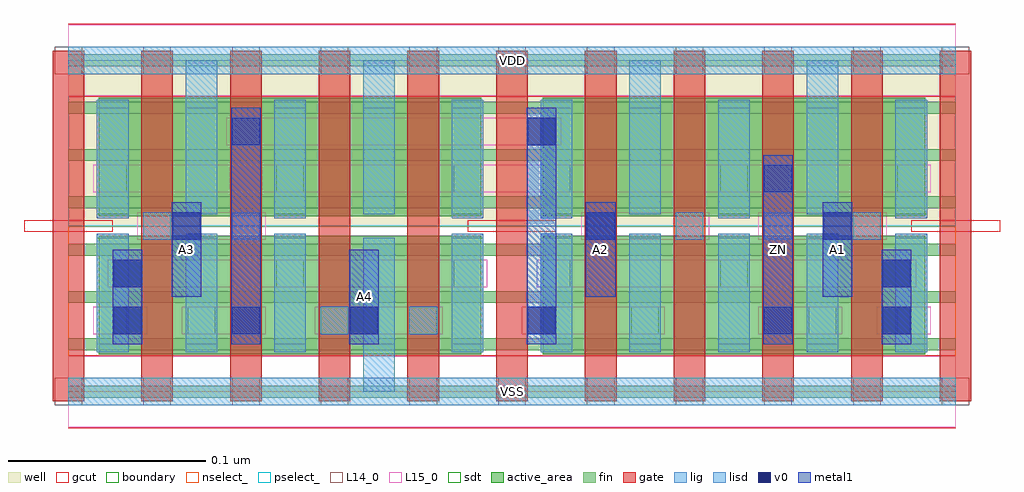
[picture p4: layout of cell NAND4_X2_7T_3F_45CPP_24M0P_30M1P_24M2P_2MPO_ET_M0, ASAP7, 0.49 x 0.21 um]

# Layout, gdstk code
import gdstk
lib = gdstk.Library(unit=1e-6, precision=2.5e-10)
def R(c, l, rs):  # rectangles x0, y0, x1, y1
    for r in rs: c.add(gdstk.rectangle(r[:2], r[2:], *l))
def A(c, l, x, y, w, h, nx, ny, dx, dy):  # array of equal rectangles
    R(c, l, [(x+i*dx, y+j*dy, x+i*dx+w, y+j*dy+h) for i in range(nx) for j in range(ny)])
well = (1, 0)
fin = (2, 0)
gate = (7, 0)
gcut = (10, 0)
active_area = (11, 0)
nselect_ = (12, 0)
pselect_ = (13, 0)
L14_0 = (14, 0)
L15_0 = (15, 0)
lig = (16, 0)
lisd = (17, 0)
v0 = (18, 0)
metal1 = (19, 0)
sdt = (88, 0)
boundary = (100, 0)

nand4_x2_7t_3f_45cpp_24m = lib.new_cell('NAND4_X2_7T_3F_45CPP_24M0P_30M1P_24M2P_2MPO_ET_M0')
R(nand4_x2_7t_3f_45cpp_24m, well, [(0,0.084,0.45,0.168)])
A(nand4_x2_7t_3f_45cpp_24m, fin, 0, -0.003, 0.45, 0.006, 1, 8, 0, 0.024)
A(nand4_x2_7t_3f_45cpp_24m, gate, -0.008, -0.005, 0.016, 0.178, 11, 1, 0.045, 0)
A(nand4_x2_7t_3f_45cpp_24m, gcut, -0.0225, 0.081, 0.045, 0.006, 3, 1, 0.225, 0)
R(nand4_x2_7t_3f_45cpp_24m, gcut, [(0,-0.0185,0.45,0.0185), (0,0.1495,0.45,0.1865)])
R(nand4_x2_7t_3f_45cpp_24m, active_area, [(0.0155,0.019,0.1195,0.079), (0.1055,0.019,0.2095,0.079), (0.2405,0.019,0.3445,0.079), (0.3305,0.019,0.4345,0.079), (0.0155,0.089,0.1195,0.149), (0.1055,0.089,0.2095,0.149), (0.2405,0.089,0.3445,0.149), (0.3305,0.089,0.4345,0.149)])
R(nand4_x2_7t_3f_45cpp_24m, nselect_, [(0,0,0.45,0.084)])
R(nand4_x2_7t_3f_45cpp_24m, pselect_, [(0,0.084,0.45,0.168)])
A(nand4_x2_7t_3f_45cpp_24m, L14_0, -0.007, -0.007, 0.014, 0.014, 11, 2, 0.045, 0.168)
A(nand4_x2_7t_3f_45cpp_24m, L14_0, 0.263, 0.077, 0.014, 0.014, 4, 1, 0.045, 0)
A(nand4_x2_7t_3f_45cpp_24m, L14_0, 0.0155, 0.101, 0.014, 0.014, 3, 1, 0.09, 0)
A(nand4_x2_7t_3f_45cpp_24m, L14_0, 0.2405, 0.101, 0.014, 0.014, 3, 1, 0.09, 0)
R(nand4_x2_7t_3f_45cpp_24m, L14_0, [(0.0155,0.029,0.0295,0.043), (0.0605,0.029,0.0745,0.043), (0.128,0.029,0.142,0.043), (0.173,0.029,0.187,0.043), (0.2855,0.029,0.2995,0.043), (0.3755,0.029,0.3895,0.043), (0.4205,0.029,0.4345,0.043), (0.1055,0.053,0.1195,0.067), (0.1955,0.053,0.2095,0.067), (0.2405,0.053,0.2545,0.067), (0.3305,0.053,0.3445,0.067), (0.038,0.077,0.052,0.091), (0.083,0.077,0.097,0.091)])
R(nand4_x2_7t_3f_45cpp_24m, L15_0, [(0,-0.018,0.45,0.018), (0.0125,0.029,0.04,0.043), (0.0575,0.029,0.1,0.043), (0.125,0.029,0.19,0.043), (0.23,0.029,0.3025,0.043), (0.35,0.029,0.3925,0.043), (0.41,0.029,0.4375,0.043), (0.02,0.053,0.2125,0.067), (0.2375,0.053,0.43,0.067), (0.035,0.077,0.1,0.091), (0.26,0.077,0.325,0.091), (0.35,0.077,0.415,0.091), (0.0125,0.101,0.4375,0.115), (0.08,0.125,0.25,0.139), (0,0.15,0.45,0.186)])
A(nand4_x2_7t_3f_45cpp_24m, lig, 0.263, 0.077, 0.014, 0.014, 4, 1, 0.045, 0)
R(nand4_x2_7t_3f_45cpp_24m, lig, [(0,-0.007,0.45,0.007), (0.128,0.029,0.142,0.043), (0.173,0.029,0.187,0.043), (0.038,0.077,0.052,0.091), (0.083,0.077,0.097,0.091), (0,0.161,0.45,0.175)])
A(nand4_x2_7t_3f_45cpp_24m, lisd, 0.0145, 0.02, 0.016, 0.06, 3, 1, 0.045, 0)
A(nand4_x2_7t_3f_45cpp_24m, lisd, 0.1945, 0.02, 0.016, 0.06, 6, 1, 0.045, 0)
A(nand4_x2_7t_3f_45cpp_24m, lisd, 0.0145, 0.088, 0.016, 0.06, 3, 1, 0.09, 0)
A(nand4_x2_7t_3f_45cpp_24m, lisd, 0.2395, 0.088, 0.016, 0.06, 3, 1, 0.09, 0)
R(nand4_x2_7t_3f_45cpp_24m, lisd, [(0.1495,0,0.1655,0.078), (0.0595,0.09,0.0755,0.168), (0.1495,0.09,0.1655,0.168), (0.2845,0.09,0.3005,0.168), (0.3745,0.09,0.3905,0.168)])
A(nand4_x2_7t_3f_45cpp_24m, v0, 0.023, 0.029, 0.014, 0.014, 3, 1, 0.06, 0)
R(nand4_x2_7t_3f_45cpp_24m, v0, [(0.233,0.029,0.247,0.043), (0.353,0.029,0.367,0.043), (0.413,0.029,0.427,0.043), (0.023,0.053,0.037,0.067), (0.413,0.053,0.427,0.067), (0.053,0.077,0.067,0.091), (0.263,0.077,0.277,0.091), (0.383,0.077,0.397,0.091), (0.353,0.101,0.367,0.115), (0.083,0.125,0.097,0.139), (0.233,0.125,0.247,0.139)])
R(nand4_x2_7t_3f_45cpp_24m, metal1, [(0.0225,0.024,0.0375,0.072), (0.0825,0.024,0.0975,0.144), (0.1425,0.024,0.1575,0.072), (0.2325,0.024,0.2475,0.144), (0.3525,0.024,0.3675,0.12), (0.4125,0.024,0.4275,0.072), (0.0525,0.048,0.0675,0.096), (0.2625,0.048,0.2775,0.096), (0.3825,0.048,0.3975,0.096)])
A(nand4_x2_7t_3f_45cpp_24m, sdt, 0.0145, 0.024, 0.016, 0.054, 10, 2, 0.045, 0.066)
R(nand4_x2_7t_3f_45cpp_24m, boundary, [(0,0,0.45,0.168)])
nand4_x2_7t_3f_45cpp_24m.add(gdstk.Label('ZN', (0.36,0.072), layer=19, texttype=251))
nand4_x2_7t_3f_45cpp_24m.add(gdstk.Label('A1', (0.39,0.072), layer=19, texttype=251))
nand4_x2_7t_3f_45cpp_24m.add(gdstk.Label('A2', (0.27,0.072), layer=19, texttype=251))
nand4_x2_7t_3f_45cpp_24m.add(gdstk.Label('A3', (0.06,0.072), layer=19, texttype=251))
nand4_x2_7t_3f_45cpp_24m.add(gdstk.Label('A4', (0.15,0.048), layer=19, texttype=251))
nand4_x2_7t_3f_45cpp_24m.add(gdstk.Label('VDD', (0.225,0.168), layer=15, texttype=251))
nand4_x2_7t_3f_45cpp_24m.add(gdstk.Label('VSS', (0.225,0), layer=15, texttype=251))
nand4_x2_7t_3f_45cpp_24m.add(gdstk.Label('VDD', (0.225,0.168), layer=1, texttype=251))
nand4_x2_7t_3f_45cpp_24m.add(gdstk.Label('VSS', (0.225,0), layer=3, texttype=251))

lib.write_gds('NAND4_X2_7T_3F_45CPP_24M0P_30M1P_24M2P_2MPO_ET_M0.gds')
